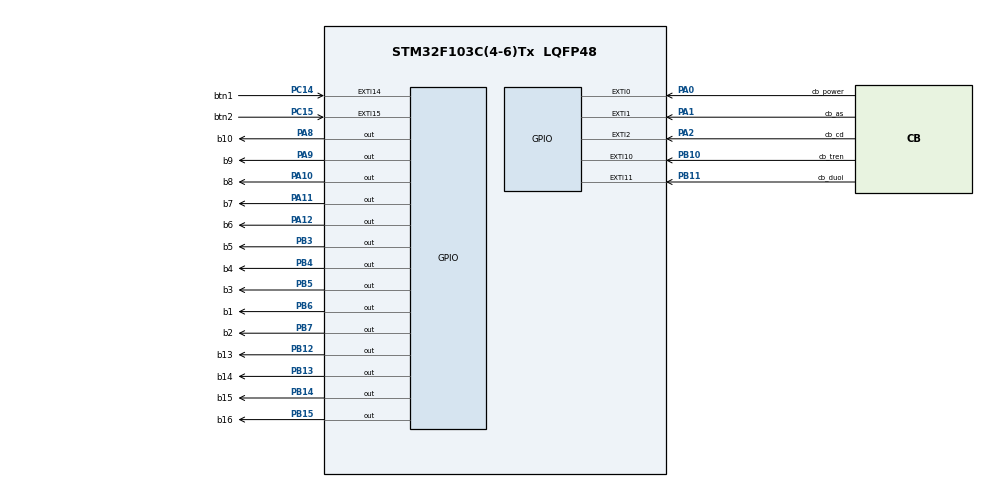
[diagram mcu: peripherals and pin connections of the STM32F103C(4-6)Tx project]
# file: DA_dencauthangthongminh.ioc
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Mcu.Family=STM32F1
Mcu.Name=STM32F103C(4-6)Tx
Mcu.Package=LQFP48
NVIC.EXTI0_IRQn=true\:1\:0\:true\:false\:true\:true\:true\:true
NVIC.EXTI15_10_IRQn=true\:4\:0\:true\:false\:true\:true\:true\:true
NVIC.EXTI1_IRQn=true\:2\:0\:true\:false\:true\:true\:true\:true
NVIC.EXTI2_IRQn=true\:5\:0\:true\:false\:true\:true\:true\:true
NVIC.PriorityGroup=NVIC_PRIORITYGROUP_4
NVIC.TIM2_IRQn=true\:3\:0\:true\:false\:true\:true\:true\:true
PA0-WKUP.GPIO_Label=cb_power
PA0-WKUP.GPIO_ModeDefaultEXTI=GPIO_MODE_IT_FALLING
PA0-WKUP.GPIO_PuPd=GPIO_PULLUP
PA0-WKUP.Signal=GPXTI0
PA1.GPIO_Label=cb_as
PA1.GPIO_ModeDefaultEXTI=GPIO_MODE_IT_FALLING
PA1.GPIO_PuPd=GPIO_PULLUP
PA1.Signal=GPXTI1
PA10.GPIO_Label=b8
PA10.GPIO_PuPd=GPIO_PULLUP
PA10.Signal=GPIO_Output
PA11.GPIO_Label=b7
PA11.GPIO_PuPd=GPIO_PULLUP
PA11.Signal=GPIO_Output
PA12.GPIO_Label=b6
PA12.GPIO_PuPd=GPIO_PULLUP
PA12.Signal=GPIO_Output
PA13.Mode=Serial_Wire
PA13.Signal=SYS_JTMS-SWDIO
PA14.Mode=Serial_Wire
PA14.Signal=SYS_JTCK-SWCLK
PA2.GPIO_Label=cb_cd
PA2.GPIO_ModeDefaultEXTI=GPIO_MODE_IT_FALLING
PA2.GPIO_PuPd=GPIO_PULLUP
PA2.Signal=GPXTI2
PA8.GPIO_Label=b10
PA8.GPIO_PuPd=GPIO_PULLUP
PA8.Signal=GPIO_Output
PA9.GPIO_Label=b9
PA9.GPIO_PuPd=GPIO_PULLUP
PA9.Signal=GPIO_Output
PB10.GPIO_Label=cb_tren
PB10.GPIO_ModeDefaultEXTI=GPIO_MODE_IT_FALLING
PB10.GPIO_PuPd=GPIO_PULLUP
PB10.Signal=GPXTI10
PB11.GPIO_Label=cb_duoi
PB11.GPIO_ModeDefaultEXTI=GPIO_MODE_IT_FALLING
PB11.GPIO_PuPd=GPIO_PULLUP
PB11.Signal=GPXTI11
PB12.GPIO_Label=b13
PB12.GPIO_PuPd=GPIO_PULLUP
PB12.Signal=GPIO_Output
PB13.GPIO_Label=b14
PB13.GPIO_PuPd=GPIO_PULLUP
PB13.Signal=GPIO_Output
PB14.GPIO_Label=b15
PB14.GPIO_PuPd=GPIO_PULLUP
PB14.Signal=GPIO_Output
PB15.GPIO_Label=b16
PB15.GPIO_PuPd=GPIO_PULLUP
PB15.Signal=GPIO_Output
PB3.GPIO_Label=b5
PB3.GPIO_PuPd=GPIO_PULLUP
PB3.Signal=GPIO_Output
PB4.GPIO_Label=b4
PB4.GPIO_PuPd=GPIO_PULLUP
PB4.Signal=GPIO_Output
PB5.GPIO_Label=b3
PB5.GPIO_PuPd=GPIO_PULLUP
PB5.Signal=GPIO_Output
PB6.GPIO_Label=b1
PB6.GPIO_PuPd=GPIO_PULLUP
PB6.Signal=GPIO_Output
PB7.GPIO_Label=b2
PB7.GPIO_PuPd=GPIO_PULLUP
PB7.Signal=GPIO_Output
PC14-OSC32_IN.GPIO_Label=btn1
PC14-OSC32_IN.GPIO_ModeDefaultEXTI=GPIO_MODE_IT_FALLING
PC14-OSC32_IN.GPIO_PuPd=GPIO_PULLUP
PC14-OSC32_IN.Signal=GPXTI14
PC15-OSC32_OUT.GPIO_Label=btn2
PC15-OSC32_OUT.GPIO_ModeDefaultEXTI=GPIO_MODE_IT_FALLING
PC15-OSC32_OUT.GPIO_PuPd=GPIO_PULLUP
PC15-OSC32_OUT.Signal=GPXTI15
ProjectManager.HeapSize=0x200
ProjectManager.StackSize=0x400
ProjectManager.TargetToolchain=MDK-ARM V5.32
RCC.APB1Freq_Value=8000000
RCC.APB2Freq_Value=8000000
TIM2.AutoReloadPreload=TIM_AUTORELOAD_PRELOAD_ENABLE
TIM2.Channel-PWM\ Generation1\ No\ Output=TIM_CHANNEL_1
TIM2.Period=99
TIM2.Prescaler=79
TIM2.Pulse-PWM\ Generation1\ No\ Output=50
VP_TIM2_VS_ClockSourceINT.Mode=Internal
VP_TIM2_VS_no_output1.Mode=PWM Generation1 No Output
board=custom

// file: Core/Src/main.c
/* USER CODE BEGIN Header */
/**
 ******************************************************************************
 * @file           : main.c
 * @brief          : Main program body
 ******************************************************************************
 * @attention
 *
 * Copyright (c) 2022 STMicroelectronics.
 * All rights reserved.
 *
 * This software is licensed under terms that can be found in the LICENSE file
 * in the root directory of this software component.
 * If no LICENSE file comes with this software, it is provided AS-IS.
 *
 ******************************************************************************
 *//*Tien*/
/* USER CODE END Header */
#include "main.h"

/* USER CODE BEGIN Includes */
/*                      <3 Trang pig -- pisces girl <3                        */
/*                                    3000                                    */
/* USER CODE END Includes */

/* USER CODE BEGIN PM */
uint32_t TT_time_watting = 2000u;
uint32_t TT_time_step = 100u;

/* USER CODE END PM */

 TIM_HandleTypeDef htim2;

void SystemClock_Config(void);
static void MX_GPIO_Init(void);
static void MX_TIM2_Init(void);

/* USER CODE BEGIN 0 */
void TT_effect_init()
{
  HAL_GPIO_WritePin(GPIOB, b1_Pin | b2_Pin | b3_Pin | b4_Pin | b5_Pin, GPIO_PIN_RESET);
  HAL_GPIO_WritePin(GPIOA, b6_Pin | b7_Pin | b8_Pin | b9_Pin | b10_Pin, GPIO_PIN_RESET);
}

void TT_set_effect_led(uint32_t data)
{
  HAL_GPIO_WritePin(b1_GPIO_Port, b1_Pin, (GPIO_PinState)((data >> 0) & 0x1));
  HAL_GPIO_WritePin(b2_GPIO_Port, b2_Pin, (GPIO_PinState)((data >> 1) & 0x1));
  HAL_GPIO_WritePin(b3_GPIO_Port, b3_Pin, (GPIO_PinState)((data >> 2) & 0x1));
  HAL_GPIO_WritePin(b4_GPIO_Port, b4_Pin, (GPIO_PinState)((data >> 3) & 0x1));
  HAL_GPIO_WritePin(b5_GPIO_Port, b5_Pin, (GPIO_PinState)((data >> 4) & 0x1));
  HAL_GPIO_WritePin(b6_GPIO_Port, b6_Pin, (GPIO_PinState)((data >> 5) & 0x1));
  HAL_GPIO_WritePin(b7_GPIO_Port, b7_Pin, (GPIO_PinState)((data >> 6) & 0x1));
  HAL_GPIO_WritePin(b8_GPIO_Port, b8_Pin, (GPIO_PinState)((data >> 7) & 0x1));
  HAL_GPIO_WritePin(b9_GPIO_Port, b9_Pin, (GPIO_PinState)((data >> 8) & 0x1));
  HAL_GPIO_WritePin(b10_GPIO_Port, b10_Pin, (GPIO_PinState)((data >> 9) & 0x1));
}

void TT_effect(uint32_t time, uint32_t wait_time)
{
  HAL_GPIO_WritePin(b1_GPIO_Port, b1_Pin, GPIO_PIN_RESET);
  HAL_Delay(time);
  HAL_GPIO_WritePin(b2_GPIO_Port, b2_Pin, GPIO_PIN_RESET);
  HAL_Delay(time);
  HAL_GPIO_WritePin(b3_GPIO_Port, b3_Pin, GPIO_PIN_RESET);
  HAL_Delay(time);
  HAL_GPIO_WritePin(b4_GPIO_Port, b4_Pin, GPIO_PIN_RESET);
  HAL_Delay(time);
  HAL_GPIO_WritePin(b5_GPIO_Port, b5_Pin, GPIO_PIN_RESET);
  HAL_Delay(time);
  HAL_GPIO_WritePin(b6_GPIO_Port, b6_Pin, GPIO_PIN_RESET);
  HAL_Delay(time);
  HAL_GPIO_WritePin(b7_GPIO_Port, b7_Pin, GPIO_PIN_RESET);
  HAL_Delay(time);
  HAL_GPIO_WritePin(b8_GPIO_Port, b8_Pin, GPIO_PIN_RESET);
  HAL_Delay(time);
  HAL_GPIO_WritePin(b9_GPIO_Port, b9_Pin, GPIO_PIN_RESET);
  HAL_Delay(time);
  HAL_GPIO_WritePin(b10_GPIO_Port, b10_Pin, GPIO_PIN_RESET);
  HAL_Delay(wait_time);

  HAL_GPIO_WritePin(b1_GPIO_Port, b1_Pin, GPIO_PIN_SET);
  HAL_Delay(time);
  HAL_GPIO_WritePin(b2_GPIO_Port, b2_Pin, GPIO_PIN_SET);
  HAL_Delay(time);
  HAL_GPIO_WritePin(b3_GPIO_Port, b3_Pin, GPIO_PIN_SET);
  HAL_Delay(time);
  HAL_GPIO_WritePin(b4_GPIO_Port, b4_Pin, GPIO_PIN_SET);
  HAL_Delay(time);
  HAL_GPIO_WritePin(b5_GPIO_Port, b5_Pin, GPIO_PIN_SET);
  HAL_Delay(time);
  HAL_GPIO_WritePin(b6_GPIO_Port, b6_Pin, GPIO_PIN_SET);
  HAL_Delay(time);
  HAL_GPIO_WritePin(b7_GPIO_Port, b7_Pin, GPIO_PIN_SET);
  HAL_Delay(time);
  HAL_GPIO_WritePin(b8_GPIO_Port, b8_Pin, GPIO_PIN_SET);
  HAL_Delay(time);
  HAL_GPIO_WritePin(b9_GPIO_Port, b9_Pin, GPIO_PIN_SET);
  HAL_Delay(time);
  HAL_GPIO_WritePin(b10_GPIO_Port, b10_Pin, GPIO_PIN_SET);
  HAL_Delay(time);
}

void TT_effect1() // bat duoi len
{
  uint16_t led = 0;
  for(int i = 0; i<=10; i++)
  {
    TT_set_effect_led(led);
    led |= 1 << i;
    HAL_Delay(TT_time_step);
  }
}
void TT_effect2() // tat duoi len
{
  uint16_t led = 0x3FF;
  for(int i = 0; i<=10; i++)
  {
    TT_set_effect_led(led);
    led &= ~(1 << i);
    HAL_Delay(TT_time_step);

  }
}

void TT_effect3() // bat tren xuong
{
  uint16_t led = 0;
  for(int i = 0; i<=10; i++)
  {
    TT_set_effect_led(led);
    led |= (0x200) >> i;
    HAL_Delay(TT_time_step);
  }
}

void TT_effect4() // tat tren xuong
{
    uint16_t led = 0x3FF;
    for(int i = 0; i<=10; i++)
    {
        TT_set_effect_led(led);
        led &= ~(0x200 >> i);
        HAL_Delay(TT_time_step);
    }
}

void TT_effect5() //sang so le
{
    TT_set_effect_led(0x5555u);
    HAL_Delay(TT_time_step);
    TT_set_effect_led(0xAAAAu);
    HAL_Delay(TT_time_step);
}
void TT_dim_light(void)
{
  HAL_GPIO_TogglePin(b1_GPIO_Port, b1_Pin);
  HAL_GPIO_TogglePin(b2_GPIO_Port, b2_Pin);
  HAL_GPIO_TogglePin(b3_GPIO_Port, b3_Pin);
  HAL_GPIO_TogglePin(b4_GPIO_Port, b4_Pin);
  HAL_GPIO_TogglePin(b5_GPIO_Port, b5_Pin);
  HAL_GPIO_TogglePin(b6_GPIO_Port, b6_Pin);
  HAL_GPIO_TogglePin(b7_GPIO_Port, b7_Pin);
  HAL_GPIO_TogglePin(b8_GPIO_Port, b8_Pin);
  HAL_GPIO_TogglePin(b9_GPIO_Port, b9_Pin);
  HAL_GPIO_TogglePin(b10_GPIO_Port, b10_Pin);
}

/* USER CODE END 0 */

int main(void)
{

  /* MCU Configuration--------------------------------------------------------*/

  /* Reset of all peripherals, Initializes the Flash interface and the Systick. */
  HAL_Init();

  /* Configure the system clock */
  SystemClock_Config();

  /* Initialize all configured peripherals */
  MX_GPIO_Init();
  MX_TIM2_Init();
  /* USER CODE BEGIN 2 */
  TT_effect_init();
  /* USER CODE END 2 */

  /* Infinite loop */
  /* USER CODE BEGIN WHILE */
  while (1)
  {
/*                      < Trang pig -- pisces girl >                       */

    if(HAL_GPIO_ReadPin(cb_tren_GPIO_Port, cb_tren_Pin) == GPIO_PIN_RESET) // duoi len
    {
//        HAL_TIM_PWM_Stop_IT(&htim2,TIM_CHANNEL_1);
        TT_effect1();
        HAL_Delay(TT_time_watting);
        TT_effect2();
        TT_set_effect_led(0);
    }
    else if (HAL_GPIO_ReadPin(cb_duoi_GPIO_Port, cb_duoi_Pin) == GPIO_PIN_RESET) //tren xuong
    {
//        HAL_TIM_PWM_Stop_IT(&htim2,TIM_CHANNEL_1);
        TT_effect3();
        HAL_Delay(TT_time_watting);
        TT_effect4();
        TT_set_effect_led(0);
    }
    else
    {
        if (HAL_GPIO_ReadPin(cb_as_GPIO_Port,cb_as_Pin) == GPIO_PIN_SET)
        {
            if(HAL_GPIO_ReadPin(cb_cd_GPIO_Port,cb_cd_Pin) == GPIO_PIN_SET)
            {
//                HAL_TIM_PWM_Stop_IT(&htim2,TIM_CHANNEL_1);
                TT_set_effect_led(0x3FF);
            }
            else
            {
                TT_set_effect_led(0u);
            }
        }
        else
        {
//            HAL_TIM_PWM_Stop_IT(&htim2,TIM_CHANNEL_1);
            TT_set_effect_led(0u);
        }
    }

    /* USER CODE END WHILE */

  }
}

void SystemClock_Config(void)
{
  RCC_OscInitTypeDef RCC_OscInitStruct = {0};
  RCC_ClkInitTypeDef RCC_ClkInitStruct = {0};

  /** Initializes the RCC Oscillators according to the specified parameters
  * in the RCC_OscInitTypeDef structure.
  */
  RCC_OscInitStruct.OscillatorType = RCC_OSCILLATORTYPE_HSI;
  RCC_OscInitStruct.HSIState = RCC_HSI_ON;
  RCC_OscInitStruct.HSICalibrationValue = RCC_HSICALIBRATION_DEFAULT;
  RCC_OscInitStruct.PLL.PLLState = RCC_PLL_NONE;
  if (HAL_RCC_OscConfig(&RCC_OscInitStruct) != HAL_OK)
  {
    Error_Handler();
  }

  /** Initializes the CPU, AHB and APB buses clocks
  */
  RCC_ClkInitStruct.ClockType = RCC_CLOCKTYPE_HCLK|RCC_CLOCKTYPE_SYSCLK
                              |RCC_CLOCKTYPE_PCLK1|RCC_CLOCKTYPE_PCLK2;
  RCC_ClkInitStruct.SYSCLKSource = RCC_SYSCLKSOURCE_HSI;
  RCC_ClkInitStruct.AHBCLKDivider = RCC_SYSCLK_DIV1;
  RCC_ClkInitStruct.APB1CLKDivider = RCC_HCLK_DIV1;
  RCC_ClkInitStruct.APB2CLKDivider = RCC_HCLK_DIV1;

  if (HAL_RCC_ClockConfig(&RCC_ClkInitStruct, FLASH_LATENCY_0) != HAL_OK)
  {
    Error_Handler();
  }
}

static void MX_TIM2_Init(void)
{

  TIM_ClockConfigTypeDef sClockSourceConfig = {0};
  TIM_MasterConfigTypeDef sMasterConfig = {0};
  TIM_OC_InitTypeDef sConfigOC = {0};

  htim2.Instance = TIM2;
  htim2.Init.Prescaler = 79;
  htim2.Init.CounterMode = TIM_COUNTERMODE_UP;
  htim2.Init.Period = 99;
  htim2.Init.ClockDivision = TIM_CLOCKDIVISION_DIV1;
  htim2.Init.AutoReloadPreload = TIM_AUTORELOAD_PRELOAD_ENABLE;
  if (HAL_TIM_Base_Init(&htim2) != HAL_OK)
  {
    Error_Handler();
  }
  sClockSourceConfig.ClockSource = TIM_CLOCKSOURCE_INTERNAL;
  if (HAL_TIM_ConfigClockSource(&htim2, &sClockSourceConfig) != HAL_OK)
  {
    Error_Handler();
  }
  if (HAL_TIM_PWM_Init(&htim2) != HAL_OK)
  {
    Error_Handler();
  }
  sMasterConfig.MasterOutputTrigger = TIM_TRGO_RESET;
  sMasterConfig.MasterSlaveMode = TIM_MASTERSLAVEMODE_DISABLE;
  if (HAL_TIMEx_MasterConfigSynchronization(&htim2, &sMasterConfig) != HAL_OK)
  {
    Error_Handler();
  }
  sConfigOC.OCMode = TIM_OCMODE_PWM1;
  sConfigOC.Pulse = 50;
  sConfigOC.OCPolarity = TIM_OCPOLARITY_HIGH;
  sConfigOC.OCFastMode = TIM_OCFAST_DISABLE;
  if (HAL_TIM_PWM_ConfigChannel(&htim2, &sConfigOC, TIM_CHANNEL_1) != HAL_OK)
  {
    Error_Handler();
  }

}

static void MX_GPIO_Init(void)
{
  GPIO_InitTypeDef GPIO_InitStruct = {0};

  /* GPIO Ports Clock Enable */
  __HAL_RCC_GPIOC_CLK_ENABLE();
  __HAL_RCC_GPIOA_CLK_ENABLE();
  __HAL_RCC_GPIOB_CLK_ENABLE();

  /*Configure GPIO pin Output Level */
  HAL_GPIO_WritePin(GPIOB, b13_Pin|b14_Pin|b15_Pin|b16_Pin
                          |b5_Pin|b4_Pin|b3_Pin|b1_Pin
                          |b2_Pin, GPIO_PIN_RESET);

  /*Configure GPIO pin Output Level */
  HAL_GPIO_WritePin(GPIOA, b10_Pin|b9_Pin|b8_Pin|b7_Pin
                          |b6_Pin, GPIO_PIN_RESET);

  /*Configure GPIO pins : btn1_Pin btn2_Pin */
  GPIO_InitStruct.Pin = btn1_Pin|btn2_Pin;
  GPIO_InitStruct.Mode = GPIO_MODE_IT_FALLING;
  GPIO_InitStruct.Pull = GPIO_PULLUP;
  HAL_GPIO_Init(GPIOC, &GPIO_InitStruct);

  /*Configure GPIO pins : cb_power_Pin cb_as_Pin cb_cd_Pin */
  GPIO_InitStruct.Pin = cb_power_Pin|cb_as_Pin|cb_cd_Pin;
  GPIO_InitStruct.Mode = GPIO_MODE_IT_FALLING;
  GPIO_InitStruct.Pull = GPIO_PULLUP;
  HAL_GPIO_Init(GPIOA, &GPIO_InitStruct);

  /*Configure GPIO pins : cb_tren_Pin cb_duoi_Pin */
  GPIO_InitStruct.Pin = cb_tren_Pin|cb_duoi_Pin;
  GPIO_InitStruct.Mode = GPIO_MODE_IT_FALLING;
  GPIO_InitStruct.Pull = GPIO_PULLUP;
  HAL_GPIO_Init(GPIOB, &GPIO_InitStruct);

  /*Configure GPIO pins : b13_Pin b14_Pin b15_Pin b16_Pin
                           b5_Pin b4_Pin b3_Pin b1_Pin
                           b2_Pin */
  GPIO_InitStruct.Pin = b13_Pin|b14_Pin|b15_Pin|b16_Pin
                          |b5_Pin|b4_Pin|b3_Pin|b1_Pin
                          |b2_Pin;
  GPIO_InitStruct.Mode = GPIO_MODE_OUTPUT_PP;
  GPIO_InitStruct.Pull = GPIO_PULLUP;
  GPIO_InitStruct.Speed = GPIO_SPEED_FREQ_LOW;
  HAL_GPIO_Init(GPIOB, &GPIO_InitStruct);

  /*Configure GPIO pins : b10_Pin b9_Pin b8_Pin b7_Pin
                           b6_Pin */
  GPIO_InitStruct.Pin = b10_Pin|b9_Pin|b8_Pin|b7_Pin
                          |b6_Pin;
  GPIO_InitStruct.Mode = GPIO_MODE_OUTPUT_PP;
  GPIO_InitStruct.Pull = GPIO_PULLUP;
  GPIO_InitStruct.Speed = GPIO_SPEED_FREQ_LOW;
  HAL_GPIO_Init(GPIOA, &GPIO_InitStruct);

  /* EXTI interrupt init*/
  HAL_NVIC_SetPriority(EXTI0_IRQn, 1, 0);
  HAL_NVIC_EnableIRQ(EXTI0_IRQn);

  HAL_NVIC_SetPriority(EXTI1_IRQn, 2, 0);
  HAL_NVIC_EnableIRQ(EXTI1_IRQn);

  HAL_NVIC_SetPriority(EXTI2_IRQn, 5, 0);
  HAL_NVIC_EnableIRQ(EXTI2_IRQn);

  HAL_NVIC_SetPriority(EXTI15_10_IRQn, 4, 0);
  HAL_NVIC_EnableIRQ(EXTI15_10_IRQn);

}

void Error_Handler(void)
{
  __disable_irq();
  while (1)
  {
  }
}
